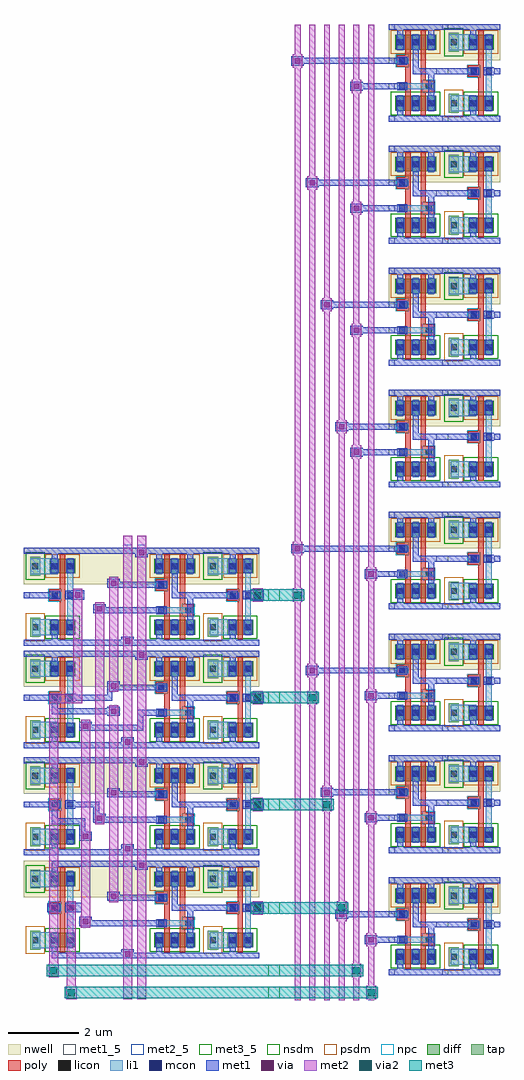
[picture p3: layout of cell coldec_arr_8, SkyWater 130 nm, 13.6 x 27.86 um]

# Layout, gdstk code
import gdstk
lib = gdstk.Library(unit=1e-6, precision=5e-09)
def R(c, l, rs):  # rectangles x0, y0, x1, y1
    for r in rs: c.add(gdstk.rectangle(r[:2], r[2:], *l))
def A(c, l, x, y, w, h, nx, ny, dx, dy):  # array of equal rectangles
    R(c, l, [(x+i*dx, y+j*dy, x+i*dx+w, y+j*dy+h) for i in range(nx) for j in range(ny)])
nwell = (64, 20)
diff = (65, 20)
tap = (65, 44)
poly = (66, 20)
licon = (66, 44)
li1 = (67, 20)
mcon = (67, 44)
met1_5 = (68, 5)
met1 = (68, 20)
via = (68, 44)
met2_5 = (69, 5)
met2 = (69, 20)
via2 = (69, 44)
met3_5 = (70, 5)
met3 = (70, 20)
nsdm = (93, 44)
psdm = (94, 20)
npc = (95, 20)

nand2_f = lib.new_cell('nand2_f')
R(nand2_f, nwell, [(0,2.44,1.53,3.48)])
R(nand2_f, diff, [(0.18,1.005,1.35,1.425), (0.18,2.75,1.35,3.17)])
R(nand2_f, poly, [(0.47,0.875,0.62,2.26), (0.91,0.875,1.06,1.535), (0.91,1.535,1.31,1.865), (0.91,1.865,1.06,3.3), (0.22,2.26,0.62,2.59), (0.47,2.59,0.62,3.3)])
A(nand2_f, licon, 0.24, 1.13, 0.17, 0.17, 3, 2, 0.44, 1.745)
R(nand2_f, licon, [(1.06,1.615,1.23,1.785), (0.3,2.34,0.47,2.51)])
A(nand2_f, li1, 0.24, 0.985, 0.17, 0.46, 3, 2, 0.44, 1.745)
R(nand2_f, li1, [(0.24,1.615,1.31,1.785), (0.22,2.34,0.55,2.51)])
A(nand2_f, mcon, 0.24, 1.13, 0.17, 0.17, 3, 2, 0.44, 1.745)
R(nand2_f, mcon, [(0.3,1.615,0.47,1.785), (0.3,2.34,0.47,2.51)])
R(nand2_f, met1_5, [(0,0.69,0.17,0.86), (0,1.615,0.17,1.785), (1.36,2.05,1.53,2.22), (0,2.34,0.17,2.51), (0,3.31,0.17,3.48)])
A(nand2_f, met1, 0.21, 1.005, 0.23, 0.42, 3, 2, 0.44, 1.745)
R(nand2_f, met1, [(0,0.69,1.53,0.86), (0.24,0.86,0.41,1.005), (1.12,1.425,1.29,2.05), (0.24,1.585,0.53,1.615), (0,1.615,0.53,1.785), (0.24,1.785,0.53,1.815), (0.68,2.05,1.53,2.22), (0.68,2.22,0.85,2.75), (0.24,2.31,0.53,2.34), (0,2.34,0.53,2.51), (0.24,2.51,0.53,2.54), (0.24,3.17,0.41,3.31), (1.12,3.17,1.29,3.31), (0,3.31,1.53,3.48)])
R(nand2_f, nsdm, [(0.055,0.88,1.475,1.55)])
R(nand2_f, psdm, [(0.055,2.625,1.475,3.295)])
R(nand2_f, npc, [(0.96,1.515,1.33,1.885), (0.2,2.24,0.57,2.61)])
nand2_f.add(gdstk.Label('VDD', (0.085,3.395), layer=68, texttype=5))
nand2_f.add(gdstk.Label('A', (0.085,2.425), layer=68, texttype=5))
nand2_f.add(gdstk.Label('B', (0.085,1.7), layer=68, texttype=5))
nand2_f.add(gdstk.Label('VSS', (0.085,0.775), layer=68, texttype=5))
nand2_f.add(gdstk.Label('Y', (1.445,2.135), layer=68, texttype=5))

not_f = lib.new_cell('not_f')
R(not_f, nwell, [(0,2.44,1.65,3.48)])
R(not_f, diff, [(0.74,1.005,1.47,1.425), (0.74,2.75,1.47,3.17)])
R(not_f, tap, [(0.18,0.945,0.47,1.485), (0.18,2.69,0.47,3.23)])
R(not_f, poly, [(1.03,0.875,1.18,1.97), (0.725,1.97,1.18,2.3), (1.03,2.3,1.18,3.3)])
R(not_f, licon, [(0.24,1.13,0.41,1.3), (0.8,1.13,0.97,1.3), (1.24,1.13,1.41,1.3), (0.805,2.05,0.975,2.22), (0.24,2.875,0.41,3.045), (0.8,2.875,0.97,3.045), (1.24,2.875,1.41,3.045)])
R(not_f, li1, [(0.24,0.985,0.97,1.445), (1.24,0.985,1.41,3.19), (0.725,2.05,1.055,2.22), (0.18,2.73,0.97,3.19)])
R(not_f, mcon, [(0.8,1.13,0.97,1.3), (1.24,1.13,1.41,1.3), (0.805,2.05,0.975,2.22), (1.24,2.05,1.41,2.22), (0.8,2.875,0.97,3.045), (1.24,2.875,1.41,3.045)])
R(not_f, met1_5, [(0,0.69,0.17,0.86), (0,2.05,0.17,2.22), (1.48,2.05,1.65,2.22), (0,3.31,0.17,3.48)])
R(not_f, met1, [(0,0.69,1.65,0.86), (0.8,0.86,0.97,1.005), (0.77,1.005,1,1.425), (1.21,1.005,1.44,1.425), (0.745,2.02,1.035,2.05), (1.18,2.02,1.47,2.05), (0,2.05,1.035,2.22), (1.18,2.05,1.65,2.22), (0.745,2.22,1.035,2.25), (1.18,2.22,1.47,2.25), (0.77,2.75,1,3.17), (1.21,2.75,1.44,3.17), (0.8,3.17,0.97,3.31), (0,3.31,1.65,3.48)])
R(not_f, nsdm, [(0.615,0.88,1.595,1.55), (0.055,2.565,0.595,3.355)])
R(not_f, psdm, [(0.055,0.82,0.595,1.61), (0.615,2.625,1.595,3.295)])
R(not_f, npc, [(0.705,1.95,1.075,2.32)])
not_f.add(gdstk.Label('B', (1.565,2.135), layer=68, texttype=5))
not_f.add(gdstk.Label('VDD', (0.085,3.395), layer=68, texttype=5))
not_f.add(gdstk.Label('A', (0.085,2.135), layer=68, texttype=5))
not_f.add(gdstk.Label('VSS', (0.085,0.775), layer=68, texttype=5))

dec_3to6_f = lib.new_cell('dec_3to6_f')
R(dec_3to6_f, nwell, [(0,2.915,6.725,3.955), (0,5.865,6.725,6.905), (0,8.915,6.725,9.955), (0,11.845,6.725,12.885)])
R(dec_3to6_f, diff, [(0.74,1.48,1.47,1.9), (3.725,1.48,4.895,1.9), (5.815,1.48,6.545,1.9), (0.74,3.225,1.47,3.645), (3.725,3.225,4.895,3.645), (5.815,3.225,6.545,3.645), (0.74,4.43,1.47,4.85), (3.725,4.43,4.895,4.85), (5.815,4.43,6.545,4.85), (0.74,6.175,1.47,6.595), (3.725,6.175,4.895,6.595), (5.815,6.175,6.545,6.595), (0.74,7.48,1.47,7.9), (3.725,7.48,4.895,7.9), (5.815,7.48,6.545,7.9), (0.74,9.225,1.47,9.645), (3.725,9.225,4.895,9.645), (5.815,9.225,6.545,9.645), (0.74,10.41,1.47,10.83), (3.725,10.41,4.895,10.83), (5.815,10.41,6.545,10.83), (0.74,12.155,1.47,12.575), (3.725,12.155,4.895,12.575), (5.815,12.155,6.545,12.575)])
R(dec_3to6_f, tap, [(0.18,1.42,0.47,1.96), (5.255,1.42,5.545,1.96), (0.18,3.165,0.47,3.705), (5.255,3.165,5.545,3.705), (0.18,4.37,0.47,4.91), (5.255,4.37,5.545,4.91), (0.18,6.115,0.47,6.655), (5.255,6.115,5.545,6.655), (0.18,7.42,0.47,7.96), (5.255,7.42,5.545,7.96), (0.18,9.165,0.47,9.705), (5.255,9.165,5.545,9.705), (0.18,10.35,0.47,10.89), (5.255,10.35,5.545,10.89), (0.18,12.095,0.47,12.635), (5.255,12.095,5.545,12.635)])
R(dec_3to6_f, poly, [(1.03,1.35,1.18,2.445), (4.015,1.35,4.165,2.735), (4.455,1.35,4.605,2.01), (6.105,1.35,6.255,2.445), (4.455,2.01,4.855,2.34), (4.455,2.34,4.605,3.775), (0.725,2.445,1.18,2.775), (5.8,2.445,6.255,2.775), (3.765,2.735,4.165,3.065), (1.03,2.775,1.18,3.775), (6.105,2.775,6.255,3.775), (4.015,3.065,4.165,3.775), (1.03,4.3,1.18,5.395), (4.015,4.3,4.165,5.685), (4.455,4.3,4.605,4.96), (6.105,4.3,6.255,5.395), (4.455,4.96,4.855,5.29), (4.455,5.29,4.605,6.725), (0.725,5.395,1.18,5.725), (5.8,5.395,6.255,5.725), (3.765,5.685,4.165,6.015), (1.03,5.725,1.18,6.725), (6.105,5.725,6.255,6.725), (4.015,6.015,4.165,6.725), (1.03,7.35,1.18,8.445), (4.015,7.35,4.165,8.735), (4.455,7.35,4.605,8.01), (6.105,7.35,6.255,8.445), (4.455,8.01,4.855,8.34), (4.455,8.34,4.605,9.775), (0.725,8.445,1.18,8.775), (5.8,8.445,6.255,8.775), (3.765,8.735,4.165,9.065), (1.03,8.775,1.18,9.775), (6.105,8.775,6.255,9.775), (4.015,9.065,4.165,9.775), (1.03,10.28,1.18,11.375), (4.015,10.28,4.165,11.665), (4.455,10.28,4.605,10.94), (6.105,10.28,6.255,11.375), (4.455,10.94,4.855,11.27), (4.455,11.27,4.605,12.705), (0.725,11.375,1.18,11.705), (5.8,11.375,6.255,11.705), (3.765,11.665,4.165,11.995), (1.03,11.705,1.18,12.705), (6.105,11.705,6.255,12.705), (4.015,11.995,4.165,12.705)])
A(dec_3to6_f, licon, 3.785, 1.605, 0.17, 0.17, 3, 2, 0.44, 1.745)
A(dec_3to6_f, licon, 3.785, 4.555, 0.17, 0.17, 3, 2, 0.44, 1.745)
A(dec_3to6_f, licon, 3.785, 7.605, 0.17, 0.17, 3, 2, 0.44, 1.745)
A(dec_3to6_f, licon, 3.785, 10.535, 0.17, 0.17, 3, 2, 0.44, 1.745)
R(dec_3to6_f, licon, [(0.24,1.605,0.41,1.775), (0.8,1.605,0.97,1.775), (1.24,1.605,1.41,1.775), (5.315,1.605,5.485,1.775), (5.875,1.605,6.045,1.775), (6.315,1.605,6.485,1.775), (4.605,2.09,4.775,2.26), (0.805,2.525,0.975,2.695), (5.88,2.525,6.05,2.695), (3.845,2.815,4.015,2.985), (0.24,3.35,0.41,3.52), (0.8,3.35,0.97,3.52), (1.24,3.35,1.41,3.52), (5.315,3.35,5.485,3.52), (5.875,3.35,6.045,3.52), (6.315,3.35,6.485,3.52), (0.24,4.555,0.41,4.725), (0.8,4.555,0.97,4.725), (1.24,4.555,1.41,4.725), (5.315,4.555,5.485,4.725), (5.875,4.555,6.045,4.725), (6.315,4.555,6.485,4.725), (4.605,5.04,4.775,5.21), (0.805,5.475,0.975,5.645), (5.88,5.475,6.05,5.645), (3.845,5.765,4.015,5.935), (0.24,6.3,0.41,6.47), (0.8,6.3,0.97,6.47), (1.24,6.3,1.41,6.47), (5.315,6.3,5.485,6.47), (5.875,6.3,6.045,6.47), (6.315,6.3,6.485,6.47), (0.24,7.605,0.41,7.775), (0.8,7.605,0.97,7.775), (1.24,7.605,1.41,7.775), (5.315,7.605,5.485,7.775), (5.875,7.605,6.045,7.775), (6.315,7.605,6.485,7.775), (4.605,8.09,4.775,8.26), (0.805,8.525,0.975,8.695), (5.88,8.525,6.05,8.695), (3.845,8.815,4.015,8.985), (0.24,9.35,0.41,9.52), (0.8,9.35,0.97,9.52), (1.24,9.35,1.41,9.52), (5.315,9.35,5.485,9.52), (5.875,9.35,6.045,9.52), (6.315,9.35,6.485,9.52), (0.24,10.535,0.41,10.705), (0.8,10.535,0.97,10.705), (1.24,10.535,1.41,10.705), (5.315,10.535,5.485,10.705), (5.875,10.535,6.045,10.705), (6.315,10.535,6.485,10.705), (4.605,11.02,4.775,11.19), (0.805,11.455,0.975,11.625), (5.88,11.455,6.05,11.625), (3.845,11.745,4.015,11.915), (0.24,12.28,0.41,12.45), (0.8,12.28,0.97,12.45), (1.24,12.28,1.41,12.45), (5.315,12.28,5.485,12.45), (5.875,12.28,6.045,12.45), (6.315,12.28,6.485,12.45)])
A(dec_3to6_f, li1, 3.785, 1.46, 0.17, 0.46, 3, 2, 0.44, 1.745)
A(dec_3to6_f, li1, 3.785, 4.41, 0.17, 0.46, 3, 2, 0.44, 1.745)
A(dec_3to6_f, li1, 3.785, 7.46, 0.17, 0.46, 3, 2, 0.44, 1.745)
A(dec_3to6_f, li1, 3.785, 10.39, 0.17, 0.46, 3, 2, 0.44, 1.745)
R(dec_3to6_f, li1, [(0.24,1.46,0.97,1.92), (1.24,1.46,1.41,3.665), (5.315,1.46,6.045,1.92), (6.315,1.46,6.485,3.665), (3.785,2.09,4.855,2.26), (0.725,2.525,1.055,2.695), (5.8,2.525,6.13,2.695), (3.765,2.815,4.095,2.985), (0.18,3.205,0.97,3.665), (5.255,3.205,6.045,3.665), (0.24,4.41,0.97,4.87), (1.24,4.41,1.41,6.615), (5.315,4.41,6.045,4.87), (6.315,4.41,6.485,6.615), (3.785,5.04,4.855,5.21), (0.725,5.475,1.055,5.645), (5.8,5.475,6.13,5.645), (3.765,5.765,4.095,5.935), (0.18,6.155,0.97,6.615), (5.255,6.155,6.045,6.615), (0.24,7.46,0.97,7.92), (1.24,7.46,1.41,9.665), (5.315,7.46,6.045,7.92), (6.315,7.46,6.485,9.665), (3.785,8.09,4.855,8.26), (0.725,8.525,1.055,8.695), (5.8,8.525,6.13,8.695), (3.765,8.815,4.095,8.985), (0.18,9.205,0.97,9.665), (5.255,9.205,6.045,9.665), (0.24,10.39,0.97,10.85), (1.24,10.39,1.41,12.595), (5.315,10.39,6.045,10.85), (6.315,10.39,6.485,12.595), (3.785,11.02,4.855,11.19), (0.725,11.455,1.055,11.625), (5.8,11.455,6.13,11.625), (3.765,11.745,4.095,11.915), (0.18,12.135,0.97,12.595), (5.255,12.135,6.045,12.595)])
A(dec_3to6_f, mcon, 3.785, 1.605, 0.17, 0.17, 3, 2, 0.44, 1.745)
A(dec_3to6_f, mcon, 3.785, 4.555, 0.17, 0.17, 3, 2, 0.44, 1.745)
A(dec_3to6_f, mcon, 3.785, 7.605, 0.17, 0.17, 3, 2, 0.44, 1.745)
A(dec_3to6_f, mcon, 3.785, 10.535, 0.17, 0.17, 3, 2, 0.44, 1.745)
R(dec_3to6_f, mcon, [(0.8,1.605,0.97,1.775), (1.24,1.605,1.41,1.775), (5.875,1.605,6.045,1.775), (6.315,1.605,6.485,1.775), (3.845,2.09,4.015,2.26), (0.805,2.525,0.975,2.695), (1.24,2.525,1.41,2.695), (5.88,2.525,6.05,2.695), (6.315,2.525,6.485,2.695), (3.845,2.815,4.015,2.985), (0.8,3.35,0.97,3.52), (1.24,3.35,1.41,3.52), (5.875,3.35,6.045,3.52), (6.315,3.35,6.485,3.52), (0.8,4.555,0.97,4.725), (1.24,4.555,1.41,4.725), (5.875,4.555,6.045,4.725), (6.315,4.555,6.485,4.725), (3.845,5.04,4.015,5.21), (0.805,5.475,0.975,5.645), (1.24,5.475,1.41,5.645), (5.88,5.475,6.05,5.645), (6.315,5.475,6.485,5.645), (3.845,5.765,4.015,5.935), (0.8,6.3,0.97,6.47), (1.24,6.3,1.41,6.47), (5.875,6.3,6.045,6.47), (6.315,6.3,6.485,6.47), (0.8,7.605,0.97,7.775), (1.24,7.605,1.41,7.775), (5.875,7.605,6.045,7.775), (6.315,7.605,6.485,7.775), (3.845,8.09,4.015,8.26), (0.805,8.525,0.975,8.695), (1.24,8.525,1.41,8.695), (5.88,8.525,6.05,8.695), (6.315,8.525,6.485,8.695), (3.845,8.815,4.015,8.985), (0.8,9.35,0.97,9.52), (1.24,9.35,1.41,9.52), (5.875,9.35,6.045,9.52), (6.315,9.35,6.485,9.52), (0.8,10.535,0.97,10.705), (1.24,10.535,1.41,10.705), (5.875,10.535,6.045,10.705), (6.315,10.535,6.485,10.705), (3.845,11.02,4.015,11.19), (0.805,11.455,0.975,11.625), (1.24,11.455,1.41,11.625), (5.88,11.455,6.05,11.625), (6.315,11.455,6.485,11.625), (3.845,11.745,4.015,11.915), (0.8,12.28,0.97,12.45), (1.24,12.28,1.41,12.45), (5.875,12.28,6.045,12.45), (6.315,12.28,6.485,12.45)])
R(dec_3to6_f, met1_5, [(0,5.475,0.17,5.645), (0,8.525,0.17,8.695), (0,11.455,0.17,11.625)])
A(dec_3to6_f, met1, 3.755, 1.48, 0.23, 0.42, 3, 2, 0.44, 1.745)
A(dec_3to6_f, met1, 3.755, 4.43, 0.23, 0.42, 3, 2, 0.44, 1.745)
A(dec_3to6_f, met1, 3.755, 7.48, 0.23, 0.42, 3, 2, 0.44, 1.745)
A(dec_3to6_f, met1, 3.755, 10.41, 0.23, 0.42, 3, 2, 0.44, 1.745)
R(dec_3to6_f, met1, [(0.8,1.165,6.725,1.335), (0.8,1.335,0.97,1.48), (2.785,1.335,3.145,1.425), (3.785,1.335,3.955,1.48), (5.875,1.335,6.045,1.48), (0.77,1.48,1,1.9), (1.21,1.48,1.44,1.9), (5.845,1.48,6.075,1.9), (6.285,1.48,6.515,1.9), (4.665,1.9,4.835,2.525), (3.785,2.06,4.075,2.09), (1.58,2.09,4.075,2.26), (1.58,2.26,1.94,2.35), (3.785,2.26,4.075,2.29), (0.675,2.48,1.035,2.74), (6.495,2.48,6.855,2.495), (1.18,2.49,1.65,2.75), (5.82,2.495,6.11,2.525), (6.255,2.495,6.855,2.725), (4.225,2.525,6.11,2.695), (4.225,2.695,4.395,3.225), (5.82,2.695,6.11,2.725), (6.495,2.725,6.855,2.74), (3.785,2.785,4.075,2.815), (2.385,2.815,4.075,2.985), (2.385,2.985,2.745,3.075), (3.785,2.985,4.075,3.015), (0.77,3.225,1,3.645), (1.21,3.225,1.44,3.645), (5.845,3.225,6.075,3.645), (6.285,3.225,6.515,3.645), (0.8,3.645,0.97,3.785), (3.785,3.645,3.955,3.785), (4.665,3.645,4.835,3.785), (5.875,3.645,6.045,3.785), (3.185,3.695,3.545,3.785), (0.8,3.785,6.725,3.955), (0,4.115,6.725,4.285), (0.8,4.285,0.97,4.43), (2.785,4.285,3.145,4.425), (3.785,4.285,3.955,4.43), (5.875,4.285,6.045,4.43), (0.77,4.43,1,4.85), (1.21,4.43,1.44,4.85), (5.845,4.43,6.075,4.85), (6.285,4.43,6.515,4.85), (1.585,4.525,1.945,4.785), (1.585,4.785,1.755,5), (4.665,4.85,4.835,5.475), (0.805,5,1.755,5.17), (3.785,5.01,4.075,5.04), (1.985,5.04,4.075,5.21), (0.805,5.17,0.975,5.445), (1.985,5.21,2.345,5.3), (3.785,5.21,4.075,5.24), (1.985,5.3,2.155,5.475), (6.495,5.43,6.855,5.445), (0.745,5.445,1.035,5.475), (1.18,5.445,1.47,5.475), (5.82,5.445,6.11,5.475), (6.255,5.445,6.855,5.675), (0,5.475,1.035,5.645), (1.18,5.475,2.155,5.645), (4.225,5.475,6.11,5.645), (0.745,5.645,1.035,5.675), (1.18,5.645,1.47,5.675), (4.225,5.645,4.395,6.175), (5.82,5.645,6.11,5.675), (6.495,5.675,6.855,5.69), (3.785,5.735,4.075,5.765), (2.385,5.765,4.075,5.935), (2.385,5.935,2.745,6.025), (3.785,5.935,4.075,5.965), (0.77,6.175,1,6.595), (1.21,6.175,1.44,6.595), (5.845,6.175,6.075,6.595), (6.285,6.175,6.515,6.595), (0.8,6.595,0.97,6.735), (3.785,6.595,3.955,6.735), (4.665,6.595,4.835,6.735), (5.875,6.595,6.045,6.735), (3.185,6.645,3.545,6.735), (0,6.735,6.725,6.905), (1.635,7.16,2.275,7.165), (0,7.165,6.725,7.335), (0.8,7.335,0.97,7.48), (2.785,7.335,3.145,7.475), (3.785,7.335,3.955,7.48), (5.875,7.335,6.045,7.48), (0.77,7.48,1,7.9), (1.21,7.48,1.44,7.9), (5.845,7.48,6.075,7.9), (6.285,7.48,6.515,7.9), (1.585,7.665,3.405,7.835), (1.585,7.835,1.945,7.925), (3.235,7.835,3.405,8.09), (4.665,7.9,4.835,8.525), (3.785,8.06,4.075,8.09), (3.235,8.09,4.075,8.26), (2.385,8.095,2.745,8.14), (0.805,8.14,2.745,8.31), (3.785,8.26,4.075,8.29), (0.805,8.31,0.975,8.495), (2.385,8.31,2.745,8.355), (6.495,8.48,6.855,8.495), (0.745,8.495,1.035,8.525), (1.18,8.495,1.47,8.525), (5.82,8.495,6.11,8.525), (6.255,8.495,6.855,8.725), (0,8.525,1.035,8.695), (1.18,8.525,2.525,8.695), (4.225,8.525,6.11,8.695), (0.745,8.695,1.035,8.725), (1.18,8.695,1.47,8.725), (2.385,8.695,2.525,8.815), (4.225,8.695,4.395,9.225), (5.82,8.695,6.11,8.725), (6.495,8.725,6.855,8.74), (3.785,8.785,4.075,8.815), (2.385,8.815,4.075,8.985), (2.385,8.985,2.745,9.075), (3.785,8.985,4.075,9.015), (0.77,9.225,1,9.645), (1.21,9.225,1.44,9.645), (5.845,9.225,6.075,9.645), (6.285,9.225,6.515,9.645), (0.8,9.645,0.97,9.785), (3.785,9.645,3.955,9.785), (4.665,9.645,4.835,9.785), (5.875,9.645,6.045,9.785), (3.185,9.695,3.545,9.785), (0,9.785,6.725,9.955), (0,10.095,6.725,10.265), (0.8,10.265,0.97,10.41), (2.785,10.265,3.145,10.355), (3.785,10.265,3.955,10.41), (5.875,10.265,6.045,10.41), (0.77,10.41,1,10.83), (1.21,10.41,1.44,10.83), (5.845,10.41,6.075,10.83), (6.285,10.41,6.515,10.83), (4.665,10.83,4.835,11.455), (3.785,10.99,4.075,11.02), (1.985,11.02,4.075,11.19), (1.985,11.19,2.345,11.28), (3.785,11.19,4.075,11.22), (1.36,11.41,1.72,11.425), (6.495,11.41,6.855,11.425), (0.745,11.425,1.035,11.455), (1.18,11.425,1.72,11.655), (5.82,11.425,6.11,11.455), (6.255,11.425,6.855,11.655), (0,11.455,1.035,11.625), (4.225,11.455,6.11,11.625), (0.745,11.625,1.035,11.655), (4.225,11.625,4.395,12.155), (5.82,11.625,6.11,11.655), (1.36,11.655,1.72,11.67), (6.495,11.655,6.855,11.67), (3.785,11.715,4.075,11.745), (2.385,11.745,4.075,11.915), (2.385,11.915,2.745,12.005), (3.785,11.915,4.075,11.945), (0.77,12.155,1,12.575), (1.21,12.155,1.44,12.575), (5.845,12.155,6.075,12.575), (6.285,12.155,6.515,12.575), (0.8,12.575,0.97,12.715), (3.785,12.575,3.955,12.715), (4.665,12.575,4.835,12.715), (5.875,12.575,6.045,12.715), (3.185,12.625,3.545,12.715), (0,12.715,6.725,12.885)])
R(dec_3to6_f, via, [(2.89,1.22,3.04,1.37), (1.685,2.145,1.835,2.295), (0.78,2.535,0.93,2.685), (6.6,2.535,6.75,2.685), (1.285,2.545,1.435,2.695), (2.49,2.87,2.64,3.02), (3.29,3.75,3.44,3.9), (2.89,4.22,3.04,4.37), (1.69,4.58,1.84,4.73), (2.09,5.095,2.24,5.245), (6.6,5.485,6.75,5.635), (2.49,5.82,2.64,5.97), (3.29,6.7,3.44,6.85), (2.89,7.27,3.04,7.42), (1.69,7.72,1.84,7.87), (2.49,8.15,2.64,8.3), (6.6,8.535,6.75,8.685), (2.49,8.87,2.64,9.02), (3.29,9.75,3.44,9.9), (2.89,10.15,3.04,10.3), (2.09,11.075,2.24,11.225), (1.465,11.465,1.615,11.615), (6.6,11.465,6.75,11.615), (2.49,11.8,2.64,11.95), (3.29,12.68,3.44,12.83)])
R(dec_3to6_f, met2_5, [(2.835,12.965,3.095,13.225), (3.235,12.965,3.495,13.225)])
R(dec_3to6_f, met2, [(1.215,0,1.505,0.375), (2.835,0,3.095,13.225), (3.235,0,3.495,13.225), (1.23,0.375,1.49,2.8), (0.71,0.635,1,1.01), (0.725,1.01,0.985,8.445), (1.63,2.04,1.895,2.4), (1.635,2.4,1.895,7.975), (6.535,2.42,6.815,2.8), (2.435,2.77,2.695,8.395), (2.035,5,2.295,11.33), (6.535,5.37,6.815,5.75), (6.535,8.42,6.815,8.8), (0.725,8.445,1.67,8.705), (1.41,8.705,1.67,11.72), (2.435,8.785,2.695,12.055), (6.535,11.35,6.815,11.73)])
R(dec_3to6_f, via2, [(1.26,0.09,1.46,0.29), (0.755,0.72,0.955,0.92), (6.575,2.51,6.775,2.71), (6.575,5.46,6.775,5.66), (6.575,8.51,6.775,8.71), (6.575,11.44,6.775,11.64)])
R(dec_3to6_f, met3_5, [(6.98,0.025,7.31,0.355), (6.98,0.655,7.31,0.985), (6.98,2.445,7.31,2.775), (6.98,5.395,7.31,5.725), (6.98,8.445,7.31,8.775), (6.98,11.375,7.31,11.705)])
R(dec_3to6_f, met3, [(1.165,0.025,7.31,0.355), (0.66,0.655,7.31,0.985), (6.485,2.445,7.31,2.775), (6.485,5.395,7.31,5.725), (6.485,8.445,7.31,8.775), (6.485,11.375,7.31,11.705)])
R(dec_3to6_f, nsdm, [(0.615,1.355,1.595,2.025), (3.6,1.355,5.02,2.025), (5.69,1.355,6.67,2.025), (0.055,3.04,0.595,3.83), (5.13,3.04,5.67,3.83), (0.615,4.305,1.595,4.975), (3.6,4.305,5.02,4.975), (5.69,4.305,6.67,4.975), (0.055,5.99,0.595,6.78), (5.13,5.99,5.67,6.78), (0.615,7.355,1.595,8.025), (3.6,7.355,5.02,8.025), (5.69,7.355,6.67,8.025), (0.055,9.04,0.595,9.83), (5.13,9.04,5.67,9.83), (0.615,10.285,1.595,10.955), (3.6,10.285,5.02,10.955), (5.69,10.285,6.67,10.955), (0.055,11.97,0.595,12.76), (5.13,11.97,5.67,12.76)])
R(dec_3to6_f, psdm, [(0.055,1.295,0.595,2.085), (5.13,1.295,5.67,2.085), (0.615,3.1,1.595,3.77), (3.6,3.1,5.02,3.77), (5.69,3.1,6.67,3.77), (0.055,4.245,0.595,5.035), (5.13,4.245,5.67,5.035), (0.615,6.05,1.595,6.72), (3.6,6.05,5.02,6.72), (5.69,6.05,6.67,6.72), (0.055,7.295,0.595,8.085), (5.13,7.295,5.67,8.085), (0.615,9.1,1.595,9.77), (3.6,9.1,5.02,9.77), (5.69,9.1,6.67,9.77), (0.055,10.225,0.595,11.015), (5.13,10.225,5.67,11.015), (0.615,12.03,1.595,12.7), (3.6,12.03,5.02,12.7), (5.69,12.03,6.67,12.7)])
R(dec_3to6_f, npc, [(4.505,1.99,4.875,2.36), (0.705,2.425,1.075,2.795), (5.78,2.425,6.15,2.795), (3.745,2.715,4.115,3.085), (4.505,4.94,4.875,5.31), (0.705,5.375,1.075,5.745), (5.78,5.375,6.15,5.745), (3.745,5.665,4.115,6.035), (4.505,7.99,4.875,8.36), (0.705,8.425,1.075,8.795), (5.78,8.425,6.15,8.795), (3.745,8.715,4.115,9.085), (4.505,10.92,4.875,11.29), (0.705,11.355,1.075,11.725), (5.78,11.355,6.15,11.725), (3.745,11.645,4.115,12.015)])
dec_3to6_f.add(gdstk.Label('VDD', (3.365,13.095), layer=69, texttype=5))
dec_3to6_f.add(gdstk.Label('VSS', (2.965,13.095), layer=69, texttype=5))
dec_3to6_f.add(gdstk.Label('A2', (0.085,11.54), layer=68, texttype=5))
dec_3to6_f.add(gdstk.Label('A1', (0.085,8.61), layer=68, texttype=5))
dec_3to6_f.add(gdstk.Label('A0', (0.085,5.56), layer=68, texttype=5))
dec_3to6_f.add(gdstk.Label('Y0', (7.145,11.54), layer=70, texttype=5))
dec_3to6_f.add(gdstk.Label('Y1', (7.145,8.61), layer=70, texttype=5))
dec_3to6_f.add(gdstk.Label('Y2', (7.145,5.56), layer=70, texttype=5))
dec_3to6_f.add(gdstk.Label('Y3', (7.145,2.61), layer=70, texttype=5))
dec_3to6_f.add(gdstk.Label('Y4', (7.145,0.82), layer=70, texttype=5))
dec_3to6_f.add(gdstk.Label('Y5', (7.145,0.19), layer=70, texttype=5))

coldec_arr_8 = lib.new_cell('coldec_arr_8')
A(coldec_arr_8, met1, -0.685, 1.57, 0.36, 0.26, 1, 4, 0, 3.48)
A(coldec_arr_8, met1, -0.505, 1.615, 0.59, 0.17, 1, 4, 0, 3.48)
A(coldec_arr_8, met1, -1.105, 15.49, 0.36, 0.26, 1, 4, 0, 3.48)
A(coldec_arr_8, met1, -0.925, 15.535, 1.01, 0.17, 1, 4, 0, 3.48)
R(coldec_arr_8, met1, [(-1.525,2.295,-1.165,2.555), (-1.345,2.34,0.085,2.51), (-1.945,5.775,-1.585,6.035), (-1.765,5.82,0.085,5.99), (-2.365,9.255,-2.005,9.515), (-2.185,9.3,0.085,9.47), (-2.785,12.735,-2.425,12.995), (-2.605,12.78,0.085,12.95), (-1.525,16.215,-1.165,16.475), (-1.345,16.26,0.085,16.43), (-1.945,19.695,-1.585,19.955), (-1.765,19.74,0.085,19.91), (-2.365,23.175,-2.005,23.435), (-2.185,23.22,0.085,23.39), (-2.785,26.655,-2.425,26.915), (-2.605,26.7,0.085,26.87)])
A(coldec_arr_8, via, -0.58, 1.625, 0.15, 0.15, 1, 4, 0, 3.48)
A(coldec_arr_8, via, -1, 15.545, 0.15, 0.15, 1, 4, 0, 3.48)
R(coldec_arr_8, via, [(-1.42,2.35,-1.27,2.5), (-1.84,5.83,-1.69,5.98), (-2.26,9.31,-2.11,9.46), (-2.68,12.79,-2.53,12.94), (-1.42,16.27,-1.27,16.42), (-1.84,19.75,-1.69,19.9), (-2.26,23.23,-2.11,23.38), (-2.68,26.71,-2.53,26.86)])
A(coldec_arr_8, met2, -2.69, -0.02, 0.17, 27.84, 6, 1, 0.42, 0)
A(coldec_arr_8, met2, -0.645, 1.51, 0.28, 0.38, 1, 4, 0, 3.48)
A(coldec_arr_8, met2, -1.065, 15.43, 0.28, 0.38, 1, 4, 0, 3.48)
R(coldec_arr_8, met2, [(-0.645,0,-0.365,0.38), (-1.065,0.63,-0.785,1.01), (-1.485,2.235,-1.205,2.615), (-1.485,2.42,-1.205,2.8), (-1.905,5.37,-1.625,5.75), (-1.905,5.715,-1.625,6.095), (-2.325,8.42,-2.045,8.8), (-2.325,9.195,-2.045,9.575), (-2.745,11.35,-2.465,11.73), (-2.745,12.675,-2.465,13.055), (-1.485,16.155,-1.205,16.535), (-1.905,19.635,-1.625,20.015), (-2.325,23.115,-2.045,23.495), (-2.745,26.595,-2.465,26.975)])
R(coldec_arr_8, via2, [(-0.605,0.09,-0.405,0.29), (-1.025,0.72,-0.825,0.92), (-1.445,2.51,-1.245,2.71), (-1.865,5.46,-1.665,5.66), (-2.285,8.51,-2.085,8.71), (-2.705,11.44,-2.505,11.64)])
R(coldec_arr_8, met3, [(-3.275,0.025,-0.505,0.355), (-0.695,0.025,-0.315,0.355), (-3.275,0.655,-0.925,0.985), (-1.115,0.655,-0.735,0.985), (-3.275,2.445,-1.345,2.775), (-1.535,2.445,-1.155,2.775), (-3.275,5.395,-1.765,5.725), (-1.955,5.395,-1.575,5.725), (-3.275,8.445,-2.185,8.775), (-2.375,8.445,-1.995,8.775), (-3.275,11.375,-2.605,11.705), (-2.795,11.375,-2.415,11.705)])
r = gdstk.Reference(nand2_f, (0,0)); r.repetition = gdstk.Repetition(1, 8, v1=(1.53,0), v2=(0,3.48)); coldec_arr_8.add(r)
r = gdstk.Reference(not_f, (1.53,0)); r.repetition = gdstk.Repetition(1, 8, v1=(1.65,0), v2=(0,3.48)); coldec_arr_8.add(r)
coldec_arr_8.add(gdstk.Reference(dec_3to6_f, (-10.42,0)))

lib.write_gds('coldec_arr_8.gds')
